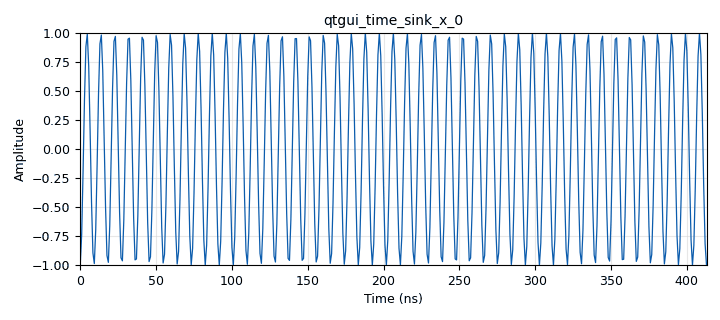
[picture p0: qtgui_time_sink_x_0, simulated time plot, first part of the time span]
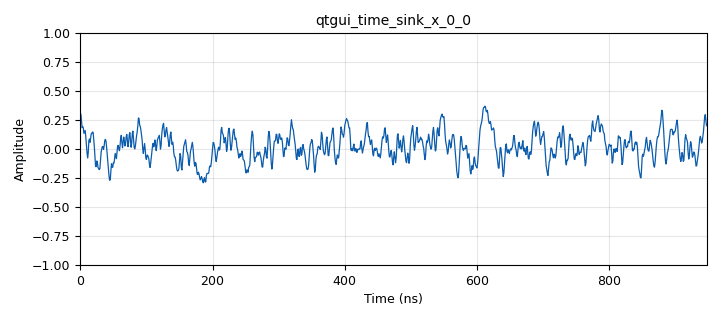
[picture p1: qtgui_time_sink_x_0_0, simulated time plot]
options:
  parameters:
    generate_options: qt_gui
    id: sssssss
    output_language: python
    title: Not titled yet
  states: {}

blocks:
- name: fc
  id: variable_qtgui_range
  parameters:
    start: '100000000'
    step: '1000000'
    stop: '109400000'
    value: '109400000'
  states: {}
- name: fm
  id: variable_qtgui_range
  parameters:
    start: '10000'
    step: '1500'
    stop: '95000'
    value: '95000'
  states: {}
- name: mi
  id: variable_qtgui_range
  parameters:
    rangeType: int
    start: '-2'
    step: '1'
    stop: '10'
    value: '10'
  states: {}
- name: samp_rate
  id: variable
  parameters:
    value: '1080000000'
  states: {}
- name: analog_fm_demod_cf_0
  id: analog_fm_demod_cf
  parameters:
    audio_decim: '4'
    audio_pass: '15000'
    audio_stop: '50000'
    chan_rate: '384000'
    deviation: '95000'
    gain: '1'
    tau: '75e-6'
  states: {}
- name: analog_phase_modulator_fc_0
  id: analog_phase_modulator_fc
  parameters:
    sensitivity: '1'
  states: {}
- name: analog_sig_source_x_0
  id: analog_sig_source_x
  parameters:
    amp: '0.5'
    freq: fm
    offset: '0'
    phase: '0'
    samp_rate: samp_rate
    type: float
    waveform: analog.GR_SIN_WAVE
  states: {}
- name: analog_sig_source_x_1
  id: analog_sig_source_x
  parameters:
    amp: '1'
    freq: fc
    offset: '0'
    phase: '0'
    samp_rate: samp_rate
    type: complex
    waveform: analog.GR_COS_WAVE
  states: {}
- name: audio_sink_0
  id: audio_sink
  parameters:
    samp_rate: samp_rate
  states: {}
- name: blocks_complex_to_real_0
  id: blocks_complex_to_real
  parameters: {}
  states: {}
- name: blocks_float_to_complex_0
  id: blocks_float_to_complex
  parameters: {}
  states: {}
- name: blocks_multiply_const_vxx_1
  id: blocks_multiply_const_vxx
  parameters:
    const: mi
    type: float
  states: {}
- name: blocks_multiply_xx_0
  id: blocks_multiply_xx
  parameters:
    type: complex
  states: {}
- name: blocks_throttle2_0
  id: blocks_throttle2
  parameters:
    samples_per_second: samp_rate
    type: float
  states: {}
- name: blocks_throttle2_1
  id: blocks_throttle2
  parameters:
    samples_per_second: samp_rate
    type: float
  states: {}
- name: epy_block_1
  id: epy_block
  parameters:
    _source_code: |
      """
      Embedded Python Blocks:

      Each time this file is saved, GRC will instantiate the first class it finds
      to get ports and parameters of your block. The arguments to __init__  will
      be the parameters. All of them are required to have default values!
      """

      import numpy as np
      from gnuradio import gr


      class blk(gr.sync_block):  # other base classes are basic_block, decim_block, interp_block
          """Embedded Python Block example - a simple multiply const"""

          def __init__(self, sample_rate=1.08e6,lof=1055e3):  # only default arguments here
              """arguments to this function show up as parameters in GRC"""
              gr.sync_block.__init__(
                  self,
                  name='mixer_lo',   # will show up in GRC
                  in_sig=[np.float32],
                  out_sig=[np.float32]
              )
              # if an attribute with the same name as a parameter is found,
              # a callback is registered (properties work, too).
              self.lof= lof
              self.sample_rate = sample_rate
              self.ry =0.0

          def work(self, input_items, output_items):
              """example: multiply with constant"""
              input_signal = input_items[0]
              time = np.arange(len(input_signal))
              lo_signal = np.cos(2*np.pi*self.lof*time/self.sample_rate)
              output_items[0][:] = input_signal * lo_signal
              return len(output_items[0])
    lof: '1055000.0'
    sample_rate: '1080000.0'
  states: {}
- name: epy_block_2
  id: epy_block
  parameters:
    _source_code: |
      """
      Embedded Python Blocks:

      Each time this file is saved, GRC will instantiate the first class it finds
      to get ports and parameters of your block. The arguments to __init__  will
      be the parameters. All of them are required to have default values!
      """

      import numpy as np
      from gnuradio import gr


      class blk(gr.sync_block):  # other base classes are basic_block, decim_block, interp_block
          """Embedded Python Block example - a simple multiply const"""

          def __init__(self,gain=1.0):  # only default arguments here
              """arguments to this function show up as parameters in GRC"""
              gr.sync_block.__init__(
                  self,
                  name='if amplifier',   # will show up in GRC
                  in_sig=[np.float32],
                  out_sig=[np.float32]
              )
              # if an attribute with the same name as a parameter is found,
              # a callback is registered (properties work, too).
              self.gain= gain
              self.ry = 0.0

          def work(self, input_items, output_items):
              """example: multiply with constant"""
              output_items[0][:] = input_items[0] * self.gain
              return len(output_items[0])
    gain: '1.0'
  states: {}
- name: epy_block_2_0
  id: epy_block
  parameters:
    _source_code: |
      """
      Embedded Python Blocks:

      Each time this file is saved, GRC will instantiate the first class it finds
      to get ports and parameters of your block. The arguments to __init__  will
      be the parameters. All of them are required to have default values!
      """

      import numpy as np
      from gnuradio import gr


      class blk(gr.sync_block):  # other base classes are basic_block, decim_block, interp_block
          """Embedded Python Block example - a simple multiply const"""

          def __init__(self,threshold=1.0):  # only default arguments here
              """arguments to this function show up as parameters in GRC"""
              gr.sync_block.__init__(
                  self,
                  name='limiter',   # will show up in GRC
                  in_sig=[np.float32],
                  out_sig=[np.float32]
              )
              # if an attribute with the same name as a parameter is found,
              # a callback is registered (properties work, too).
              self.threshold= threshold
              self.ry =0.0

          def work(self, input_items, output_items):
              """example: multiply with constant"""
              input_signal = input_items[0]
              output_signal = np.clip(input_signal,-self.threshold,self.threshold)
              output_items[0][:] = output_signal
              return len(output_items[0])
    threshold: '1.0'
  states: {}
- name: epy_block_2_1
  id: epy_block
  parameters:
    _source_code: |
      """
      Embedded Python Blocks:

      Each time this file is saved, GRC will instantiate the first class it finds
      to get ports and parameters of your block. The arguments to __init__  will
      be the parameters. All of them are required to have default values!
      """

      import numpy as np
      from gnuradio import gr


      class blk(gr.sync_block):  # other base classes are basic_block, decim_block, interp_block
          """Embedded Python Block example - a simple multiply const"""

          def __init__(self,gain=1.0):  # only default arguments here
              """arguments to this function show up as parameters in GRC"""
              gr.sync_block.__init__(
                  self,
                  name='rf amplifier',   # will show up in GRC
                  in_sig=[np.float32],
                  out_sig=[np.float32]
              )
              # if an attribute with the same name as a parameter is found,
              # a callback is registered (properties work, too).
              self.gain= gain
              self.ry = 0.0

          def work(self, input_items, output_items):
              """example: multiply with constant"""
              output_items[0][:] = input_items[0] * self.gain
              return len(output_items[0])
    gain: '1.0'
  states: {}
- name: epy_block_5
  id: epy_block
  parameters:
    _source_code: |
      """
      Embedded Python Blocks:

      Each time this file is saved, GRC will instantiate the first class it finds
      to get ports and parameters of your block. The arguments to __init__  will
      be the parameters. All of them are required to have default values!
      """

      import numpy as np
      from gnuradio import gr


      class blk(gr.sync_block):  # other base classes are basic_block, decim_block, interp_block
          """Embedded Python Block example - a simple multiply const"""

          def __init__(self, gain=1.0):  # only default arguments here
              """arguments to this function show up as parameters in GRC"""
              gr.sync_block.__init__(
                  self,
                  name='af amplifier',   # will show up in GRC
                  in_sig=[np.float32],
                  out_sig=[np.float32]
              )
              # if an attribute with the same name as a parameter is found,
              # a callback is registered (properties work, too).
              self.gain = gain
              self.ry =0

          def work(self, input_items, output_items):
              """example: multiply with constant"""
              output_items[0][:] = input_items[0] * self.gain
              return len(output_items[0])
    gain: '1.0'
  states: {}
- name: epy_block_5_0
  id: epy_block
  parameters:
    _source_code: |
      """
      Embedded Python Blocks:

      Each time this file is saved, GRC will instantiate the first class it finds
      to get ports and parameters of your block. The arguments to __init__  will
      be the parameters. All of them are required to have default values!
      """

      import numpy as np
      from gnuradio import gr


      class blk(gr.sync_block):  # other base classes are basic_block, decim_block, interp_block
          """Embedded Python Block example - a simple multiply const"""

          def __init__(self, gain=1.0):  # only default arguments here
              """arguments to this function show up as parameters in GRC"""
              gr.sync_block.__init__(
                  self,
                  name='power amplifier',   # will show up in GRC
                  in_sig=[np.float32],
                  out_sig=[np.float32]
              )
              # if an attribute with the same name as a parameter is found,
              # a callback is registered (properties work, too).
              self.gain = gain
              self.ry =0

          def work(self, input_items, output_items):
              """example: multiply with constant"""
              output_items[0][:] = input_items[0] * self.gain
              return len(output_items[0])
    gain: '1.0'
  states: {}
- name: qtgui_time_sink_x_0
  id: qtgui_time_sink_x
  parameters:
    size: '1024'
    srate: samp_rate
    type: float
  states: {}
- name: qtgui_time_sink_x_0_0
  id: qtgui_time_sink_x
  parameters:
    size: '1024'
    srate: samp_rate
    type: float
    update_time: '0.5'
  states: {}

connections:
- [analog_fm_demod_cf_0, '0', epy_block_5, '0']
- [analog_phase_modulator_fc_0, '0', blocks_multiply_xx_0, '0']
- [analog_sig_source_x_0, '0', blocks_multiply_const_vxx_1, '0']
- [analog_sig_source_x_1, '0', blocks_multiply_xx_0, '1']
- [blocks_complex_to_real_0, '0', epy_block_2_1, '0']
- [blocks_complex_to_real_0, '0', qtgui_time_sink_x_0, '0']
- [blocks_float_to_complex_0, '0', analog_fm_demod_cf_0, '0']
- [blocks_multiply_const_vxx_1, '0', blocks_throttle2_0, '0']
- [blocks_multiply_xx_0, '0', blocks_complex_to_real_0, '0']
- [blocks_throttle2_0, '0', analog_phase_modulator_fc_0, '0']
- [blocks_throttle2_1, '0', audio_sink_0, '0']
- [blocks_throttle2_1, '0', qtgui_time_sink_x_0_0, '0']
- [epy_block_1, '0', epy_block_2, '0']
- [epy_block_2, '0', epy_block_2_0, '0']
- [epy_block_2_0, '0', blocks_float_to_complex_0, '0']
- [epy_block_2_0, '0', blocks_float_to_complex_0, '1']
- [epy_block_2_1, '0', epy_block_1, '0']
- [epy_block_5, '0', epy_block_5_0, '0']
- [epy_block_5_0, '0', blocks_throttle2_1, '0']

metadata:
  file_format: 1
  grc_version: 3.10.9.2
